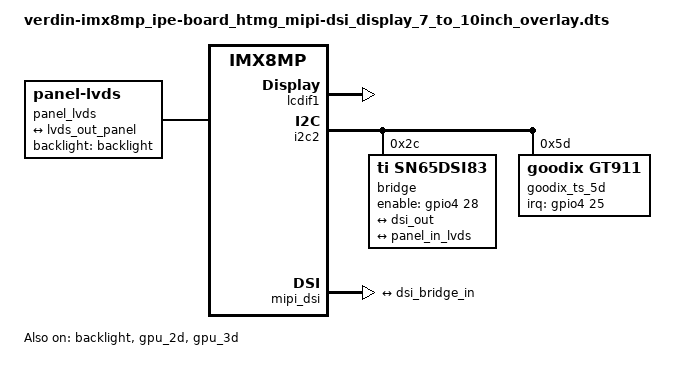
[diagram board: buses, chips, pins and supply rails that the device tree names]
// SPDX-License-Identifier: GPL-2.0-or-later OR MIT
/*
 * Verdin iMX8MP overlay - MIPI-DSI Displays from HTMG
 * Display Models GBExxxWSH02CE: 
 * 	- TDO GBE070WSH02CE 7" 1024x600 MIPI-DSI
 *	- TDO GBE101WSH02CE 10.1" 1024x600 MIPI-DSI
 *
 * Touchscreen capacitive: Goodix GT911
 * 
 * Carrier Board: Ipê Carrier Board
 * Kernel 6.6 (TorizonOS 7.4)
 * 
 * Witte Technology LTDA - https://wittetech.com/
 */

/dts-v1/;
/plugin/;

#include <dt-bindings/gpio/gpio.h>
#include <dt-bindings/interrupt-controller/irq.h>

/ {
	compatible = "toradex,verdin-imx8mp";
};

/* Panel LVDS definition */
&{/} {
	panel_lvds: panel-lvds {
		compatible = "panel-lvds";
		backlight = <&backlight>;
		data-mapping = "vesa-24";
		height-mm = <85>;
		width-mm = <154>;
		status = "okay";

		panel-timing {
			clock-frequency = <47250000>;
			de-active = <1>;
			hactive = <1024>;
			hback-porch = <64>;
			hfront-porch = <72>;
			hsync-active = <0>;
			hsync-len = <32>;
			pixelclk-active = <1>;
			vactive = <600>;
			vback-porch = <15>;
			vfront-porch = <15>;
			vsync-active = <0>;
			vsync-len = <8>;
		};

		port {
			panel_in_lvds: endpoint {
				remote-endpoint = <&lvds_out_panel>;
			};
		};
	};
};

&backlight {
	pwms = <&pwm3 0 6666667 0>;
	brightness-levels = <0 4 8 14 22 32 45 60 78 100 125 153 185 220 255>;
	default-brightness-level = <14>;
	status = "okay";
};

&gpu_2d {
	status = "okay";
};

&gpu_3d {
	status = "okay";
};

&lcdif1 {
	status = "okay";
};

&i2c2 {
	#address-cells = <1>;
	#size-cells = <0>;
	status = "okay";

	/* TI SN65DSI83 MIPI-DSI to LVDS bridge */
	bridge@2c {
		compatible = "ti,sn65dsi83";
		reg = <0x2c>;
		/* Verdin GPIO_10_DSI (SODIMM 21) - Enable */
		enable-gpios = <&gpio4 28 GPIO_ACTIVE_HIGH>;

		ports {
			#address-cells = <1>;
			#size-cells = <0>;

			port@0 {
				reg = <0>;
				dsi_bridge_in: endpoint {
					data-lanes = <1 2 3 4>;
					remote-endpoint = <&dsi_out>;
				};
			};

			port@2 {
				reg = <2>;
				lvds_out_panel: endpoint {
					remote-endpoint = <&panel_in_lvds>;
				};
			};
		};
	};

	/* Goodix GT911 touchscreen at 0x14 address */
	goodix_ts_14: gt911@14 {
		compatible = "goodix,gt911";
		reg = <0x14>;
		interrupt-parent = <&gpio4>;
		interrupts = <25 IRQ_TYPE_EDGE_FALLING>;
		status = "disabled";
	};

	/* Goodix GT911 touchscreen at 0x5D address */
	goodix_ts_5d: gt911@5d {
		compatible = "goodix,gt911";
		reg = <0x5d>;
		interrupt-parent = <&gpio4>;
		interrupts = <25 IRQ_TYPE_EDGE_FALLING>;
		status = "okay";
	};
};

/* MIPI-DSI output to bridge - check node name in base DT */
&mipi_dsi {
	status = "okay";

	ports {
		port@1 {
			reg = <1>;
			dsi_out: endpoint {
				remote-endpoint = <&dsi_bridge_in>;
			};
		};
	};
};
